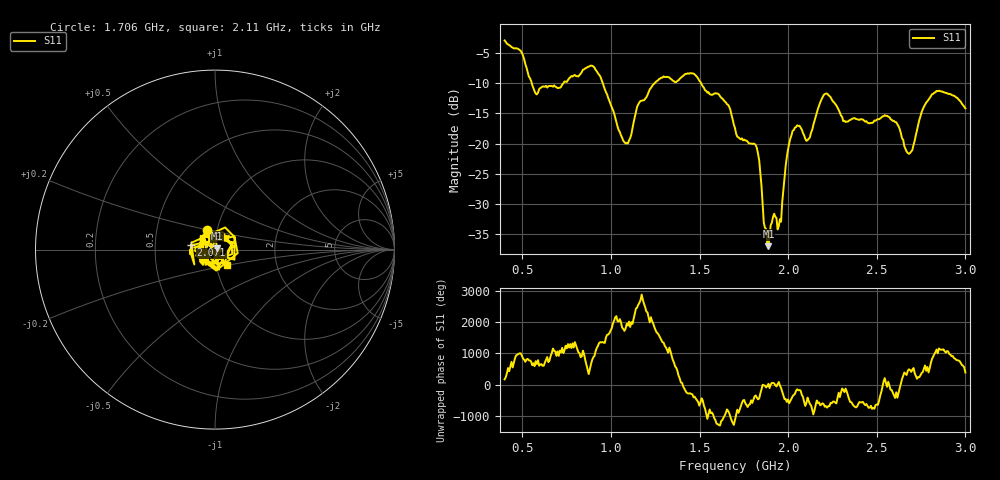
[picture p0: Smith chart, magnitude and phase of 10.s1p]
!Created with skrf (http://scikit-rf.org).
# Hz S RI R 50.0
!freq ReS11 ImS11
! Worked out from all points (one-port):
!   401 points, 400 MHz to 3 GHz, reference 50 ohm
!   lowest |S11| = -37.1 dB at 1.889 GHz (marker M1), VSWR 1.03, Z = 51.2 + j0.701 ohm
!   |S11| at or under -10 dB: 553.5 MHz to 731.5 MHz (178 MHz wide, 27.7 % of centre); 954.4 MHz to 1.246 GHz (291.1 MHz wide, 26.5 % of centre); 1.509 GHz to end of sweep
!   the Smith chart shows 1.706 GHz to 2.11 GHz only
!   S11 on the Smith chart (normalised r, x): 1.706 GHz: 0.89, +0.20; 2.071 GHz: 0.76, +0.04; 2.11 GHz: 1.12, -0.19
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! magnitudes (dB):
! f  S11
! 400 MHz  -2.9
! 491 MHz  -4.6
! 575.5 MHz  -11.7
! 725 MHz  -10.2
! 900.5 MHz  -7.2
! 1.05 GHz  -18.1
! 1.095 GHz  -20.0
! 1.154 GHz  -13.5
! 1.258 GHz  -9.6
! 1.375 GHz  -9.6
! 1.472 GHz  -8.5
! 1.655 GHz  -13.4
! 1.7 GHz  -17.4
! 1.706 GHz  -18.4
! 1.823 GHz  -20.8
! 1.869 GHz  -34.0
! 1.889 GHz  -37.1
! 1.954 GHz  -32.6
! 1.992 GHz  -22.2
! 2.025 GHz  -17.9
! 2.071 GHz  -17.4
! 2.11 GHz  -19.4
! 2.207 GHz  -11.8
! 2.35 GHz  -16.1
! 2.558 GHz  -15.4
! 2.675 GHz  -21.6
! 2.825 GHz  -11.5
! 3 GHz  -14.2
